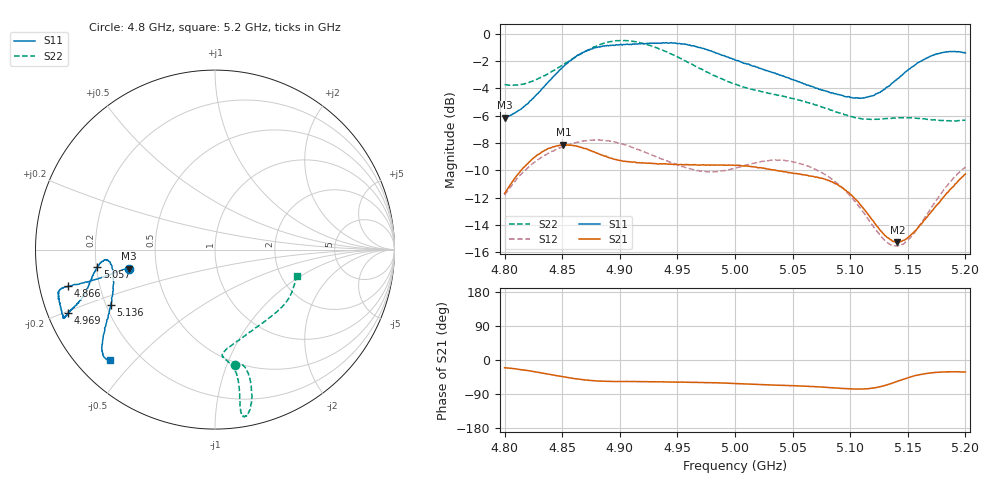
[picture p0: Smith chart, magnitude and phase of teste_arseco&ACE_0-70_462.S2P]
! Network Analyzer HP8722D
! Hewlett-Packard
! Data name: Linha & Wilkinson
! Saver's name: Rodrigo Anjos
! Comments: Teste da utilização de aquisição
! continua pelo VNA HP8722D
! Time and date: 8/5/2025 16:36
!  Frequency  S11  S21  S12  S22
# HZ  S  MA R 50
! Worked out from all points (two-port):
!   401 points, 4.8 GHz to 5.2 GHz, reference 50 ohm
!   highest |S21| = -8.13 dB at 4.851 GHz (marker M1); lowest = -15.3 dB at 5.141 GHz (marker M2)
!   |S21| within 3 dB of the highest: 4.804 GHz to 5.09 GHz (285.9 MHz wide, 5.78 % of centre); 5.190176 GHz to end of sweep
!   lowest |S11| = -6.1 dB at 4.8 GHz (marker M3), VSWR 2.94, Z = 17.2 - j4.83 ohm
!   |S11| at or under -10 dB: nowhere
!   |S22| runs from -6.4 to -0.5 dB; largest |S21 - S12| = 0.62
!   S11 on the Smith chart (normalised r, x): 4.8 GHz: 0.34, -0.10; 4.866 GHz: 0.08, -0.12; 4.969 GHz: 0.06, -0.21; 5.057 GHz: 0.20, -0.07; 5.136 GHz: 0.22, -0.24; 5.2 GHz: 0.10, -0.42
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4.8e9  0.4926 -167.5  0.2603 -20.4  0.2562 -141.6  0.6509 -80.3
4.826e9  0.588 -166.8  0.3533 -30.9  0.3378 -145.6  0.6756 -75.8
4.851e9  0.7585 -165.8  0.392 -44.4  0.3866 -150.1  0.7715 -75.0
4.866e9  0.8462 -166.0  0.3839 -51.3  0.4028 -152.6  0.8422 -75.8
4.867e9  0.849 -165.8  0.3833 -51.7  0.4035 -152.8  0.8473 -75.9
4.88e9  0.8911 -165.5  0.3658 -55.3  0.4086 -154.8  0.9036 -77.3
4.899e9  0.9109 -163.1  0.344 -56.9  0.3979 -157.1  0.9441 -79.7
4.934e9  0.9243 -156.5  0.3334 -57.8  0.3518 -155.8  0.8802 -80.9
4.969e9  0.8908 -156.6  0.3301 -59.1  0.3142 -147.5  0.7487 -80.0
5e9  0.8028 -159.4  0.3294 -62.1  0.322 -137.6  0.6534 -81.6
5.034e9  0.7192 -165.5  0.3174 -66.3  0.3443 -134.8  0.5996 -85.9
5.057e9  0.6624 -171.5  0.3055 -68.5  0.3341 -136.6  0.5698 -84.8
5.067e9  0.6411 -173.4  0.3006 -69.8  0.3231 -137.5  0.5544 -82.5
5.086e9  0.604 -174.6  0.284 -73.7  0.2892 -139.2  0.5213 -74.9
5.101e9  0.5847 -171.7  0.2569 -76.2  0.2521 -139.3  0.4977 -66.0
5.116e9  0.5885 -164.5  0.2167 -75.6  0.2085 -135.3  0.4866 -55.1
5.134e9  0.6441 -153.4  0.1772 -63.5  0.1695 -119.2  0.49 -43.0
5.136e9  0.6579 -152.1  0.1752 -61.6  0.1678 -116.7  0.4895 -41.6
5.141e9  0.6841 -149.5  0.1727 -56.0  0.1667 -110.0  0.4923 -38.9
5.153e9  0.753 -144.7  0.1838 -44.2  0.1806 -95.0  0.4923 -32.7
5.172e9  0.8349 -139.1  0.2268 -33.4  0.2358 -81.1  0.4833 -24.5
5.2e9  0.8506 -133.7  0.3064 -31.8  0.3251 -77.4  0.4822 -17.8
